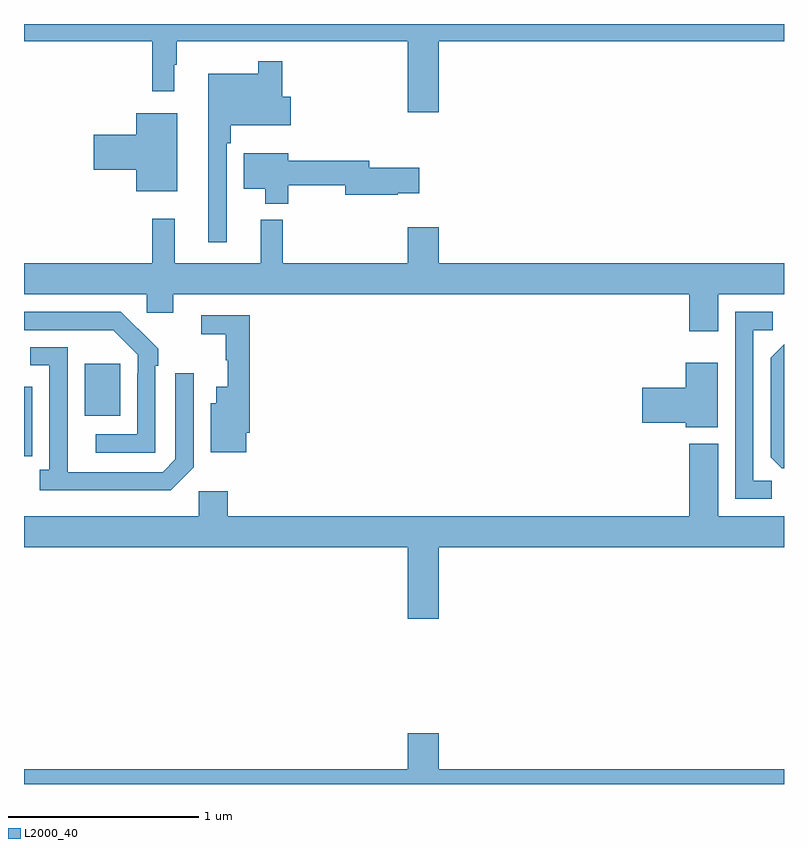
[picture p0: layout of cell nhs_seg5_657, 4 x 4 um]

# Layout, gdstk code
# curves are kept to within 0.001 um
import gdstk
lib = gdstk.Library(unit=1e-6, precision=1e-09)
def R(c, l, rs):  # rectangles x0, y0, x1, y1
    for r in rs: c.add(gdstk.rectangle(r[:2], r[2:], *l))
def P(c, l, *ps):  # polygons
    for p in ps: c.add(gdstk.Polygon(p, *l))
L2000_40 = (2000, 40)

nhs_seg5_657 = lib.new_cell('nhs_seg5_657')
R(nhs_seg5_657, L2000_40, [(151.319,906.737,151.507,907.012)])
P(nhs_seg5_657, L2000_40, [(151,908.708),(151.675,908.708),(151.675,908.445),(151.792,908.445),(151.792,908.585),(151.804,908.585),(151.804,908.708),(153.02,908.708),(153.02,908.334),(153.184,908.334),(153.184,908.708),(155,908.708),(155,908.799),(151,908.799)],
  [(152.067,908.171),(152.087,908.171),(152.087,908.267),(152.404,908.267),(152.404,908.415),(152.36,908.415),(152.36,908.602),(152.232,908.602),(152.232,908.536),(151.97,908.536),(151.97,907.65),(152.067,907.65)],
  [(151.807,908.329),(151.592,908.329),(151.592,908.216),(151.368,908.216),(151.368,908.033),(151.592,908.033),(151.592,907.919),(151.807,907.919)],
  [(152.392,907.95),(152.69,907.95),(152.69,907.9),(152.966,907.9),(152.966,907.907),(153.079,907.907),(153.079,908.042),(152.818,908.042),(152.818,908.078),(152.392,908.078),(152.392,908.119),(152.156,908.119),(152.156,907.931),(152.27,907.931),(152.27,907.853),(152.392,907.853)],
  [(154.654,907.376),(155,907.376),(155,907.54),(153.184,907.54),(153.184,907.729),(153.02,907.729),(153.02,907.54),(152.363,907.54),(152.363,907.768),(152.246,907.768),(152.246,907.54),(151.793,907.54),(151.793,907.774),(151.675,907.774),(151.675,907.54),(151,907.54),(151,907.376),(151.647,907.376),(151.647,907.278),(151.786,907.278),(151.786,907.376),(154.502,907.376),(154.502,907.182),(154.654,907.182)],
  [(154.935,906.395),(154.839,906.395),(154.839,907.188),(154.942,907.188),(154.942,907.284),(154.743,907.284),(154.743,906.3),(154.935,906.3)],
  [(151.692,907.001),(151.707,907.001),(151.707,907.089),(151.51,907.284),(151,907.284),(151,907.188),(151.471,907.188),(151.599,907.059),(151.599,906.959),(151.596,906.959),(151.596,906.639),(151.377,906.639),(151.377,906.543),(151.692,906.543)],
  [(152.17,906.649),(152.189,906.649),(152.189,907.266),(151.932,907.266),(151.932,907.165),(152.061,907.165),(152.061,907.029),(152.072,907.029),(152.072,906.889),(152.012,906.889),(152.012,906.802),(151.982,906.802),(151.982,906.545),(152.17,906.545)],
  [(155,907.114),(154.929,907.042),(154.929,906.52),(154.988,906.461),(155,906.461)],
  [(151.893,906.465),(151.893,906.961),(151.797,906.961),(151.797,906.507),(151.731,906.441),(151.231,906.441),(151.23,907.098),(151.032,907.098),(151.032,907.002),(151.134,907.002),(151.134,906.454),(151.083,906.454),(151.083,906.344),(151.772,906.344)],
  [(154.651,907.015),(154.484,907.015),(154.484,906.884),(154.254,906.884),(154.254,906.701),(154.484,906.701),(154.484,906.677),(154.651,906.677)],
  [(151.043,906.634),(151.044,906.634),(151.044,906.889),(151,906.889),(151,906.525),(151.043,906.525)],
  [(152.072,906.34),(151.92,906.34),(151.92,906.208),(151,906.208),(151,906.044),(153.02,906.044),(153.02,905.67),(153.184,905.67),(153.184,906.044),(155,906.044),(155,906.208),(154.654,906.208),(154.654,906.589),(154.502,906.589),(154.502,906.208),(152.072,906.208)],
  [(153.184,905.065),(153.02,905.065),(153.02,904.876),(151,904.876),(151,904.799),(155,904.799),(155,904.876),(153.184,904.876)])

lib.write_gds('nhs_seg5_657.gds')
